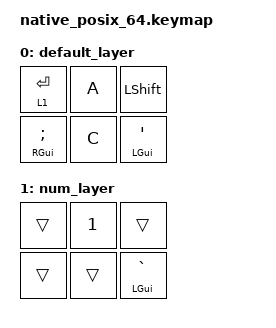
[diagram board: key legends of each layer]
#include <dt-bindings/zmk/keys.h>
#include <behaviors.dtsi>
#include <dt-bindings/zmk/kscan_mock.h>

&lt {
    flavor = "balanced";
    tapping-term-ms = <175>;
    quick-tap-ms = <125>;
};

/ {
    behaviors {
        ht: hold_tap {
            label = "hold_tap";
            compatible = "zmk,behavior-hold-tap";
            #binding-cells = <2>;
            flavor = "balanced";
            tapping-term-ms = <175>;
            quick-tap-ms = <125>;
            bindings = <&kp>, <&kp>;
        };
    };
    keymap {
        compatible = "zmk,keymap";
        default_layer {
            bindings = <
                &lt 1 RET      &kp A  &kp LSHFT
                &ht RGUI SEMI  &kp C  &ht LGUI SQT
            >;
        };
        num_layer {
            bindings = <
                &trans  &kp N1  &trans
                &trans  &trans  &ht LGUI GRAVE
            >;
        };
    };
};

&kscan {
    rows = <2>;
    columns = <3>;
    events = <
        // Enter tap; holding the same key activates the number layer.
        ZMK_MOCK_PRESS(0,0,40) ZMK_MOCK_RELEASE(0,0,300)
        ZMK_MOCK_PRESS(0,0,40) ZMK_MOCK_PRESS(0,1,40)
        ZMK_MOCK_RELEASE(0,1,10) ZMK_MOCK_RELEASE(0,0,300)

        // Semicolon tap; holding the same key produces GUI+C.
        ZMK_MOCK_PRESS(1,0,40) ZMK_MOCK_RELEASE(1,0,300)
        ZMK_MOCK_PRESS(1,0,40) ZMK_MOCK_PRESS(1,1,40)
        ZMK_MOCK_RELEASE(1,1,10) ZMK_MOCK_RELEASE(1,0,100)

        // Quote and Shift+quote on L0.
        ZMK_MOCK_PRESS(1,2,40) ZMK_MOCK_RELEASE(1,2,300)
        ZMK_MOCK_PRESS(0,2,30)
        ZMK_MOCK_PRESS(1,2,40) ZMK_MOCK_RELEASE(1,2,30)
        ZMK_MOCK_RELEASE(0,2,300)

        // L1 grave and Shift+grave, plus the same GUI hold.
        ZMK_MOCK_PRESS(0,0,220)
        ZMK_MOCK_PRESS(1,2,40) ZMK_MOCK_RELEASE(1,2,300)
        ZMK_MOCK_PRESS(0,2,30)
        ZMK_MOCK_PRESS(1,2,40) ZMK_MOCK_RELEASE(1,2,30)
        ZMK_MOCK_RELEASE(0,2,300)
        ZMK_MOCK_PRESS(1,2,40) ZMK_MOCK_PRESS(1,1,40)
        ZMK_MOCK_RELEASE(1,1,10) ZMK_MOCK_RELEASE(1,2,30)
        ZMK_MOCK_RELEASE(0,0,100)
    >;
};
